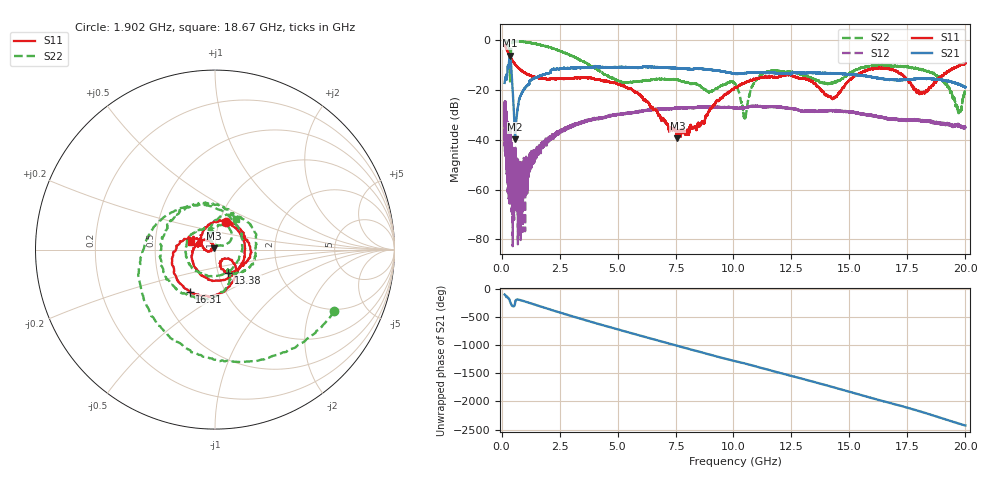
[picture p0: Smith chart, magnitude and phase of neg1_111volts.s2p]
!Created with skrf (http://scikit-rf.org).
# GHz S RI R 50.0
!freq ReS11 ImS11 ReS21 ImS21 ReS12 ImS12 ReS22 ImS22
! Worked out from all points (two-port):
!   20013 points, 130 MHz to 20 GHz, reference 50 ohm
!   highest |S21| = -6.29 dB at 370 MHz (marker M1); lowest = -39.9 dB at 581 MHz (marker M2)
!   |S21| within 3 dB of the highest: 315.8 MHz to 404.9 MHz (89.07 MHz wide, 24.7 % of centre)
!   lowest |S11| = -39.5 dB at 7.578 GHz (marker M3), VSWR 1.02, Z = 49.2 + j0.66 ohm
!   |S11| at or under -10 dB: 605 MHz to 19.76 GHz (19.16 GHz wide, 188 % of centre); 19.76561 GHz to 19.76812 GHz (2.515 MHz wide, 0.0127 % of centre); 19.77026 GHz to 19.77143 GHz (1.173 MHz wide, 0.00593 % of centre)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
!   |S22| runs from -31.5 to -0.2 dB; largest |S21 - S12| = 0.49
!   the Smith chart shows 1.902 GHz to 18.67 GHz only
!   S11 on the Smith chart (normalised r, x): 1.902 GHz: 1.07, +0.34; 13.38 GHz: 1.11, -0.30; 16.31 GHz: 0.68, -0.35; 18.67 GHz: 0.76, +0.07
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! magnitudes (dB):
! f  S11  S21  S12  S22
! 130 MHz  -2.0  -17.2  -39.5  -0.2
! 370 MHz  -6.7  -6.3  -45.2  -14.8
! 581 MHz  -9.7  -39.9  -54.1  -0.5
! 983 MHz  -13.1  -19.6  -52.0  -0.9
! 1.902 GHz  -15.6  -13.6  -41.1  -2.5
! 3.442 GHz  -15.2  -11.1  -33.1  -8.2
! 5.574 GHz  -19.5  -11.0  -29.3  -16.9
! 6.754 GHz  -29.9  -10.9  -27.8  -15.7
! 7.578 GHz  -39.5  -11.3  -27.4  -15.9
! 10.06 GHz  -19.0  -13.5  -27.2  -17.6
! 10.49 GHz  -17.2  -13.3  -27.1  -31.4
! 10.81 GHz  -16.2  -13.0  -26.6  -18.5
! 11.27 GHz  -15.0  -13.0  -26.9  -13.5
! 13.38 GHz  -16.6  -13.2  -28.6  -15.3
! 13.38 GHz  -16.5  -13.1  -28.6  -15.4
! 14.32 GHz  -23.3  -13.4  -28.3  -17.1
! 16.31 GHz  -11.2  -15.5  -30.8  -10.1
! 16.69 GHz  -11.6  -15.8  -31.8  -10.3
! 17.98 GHz  -20.8  -15.5  -32.2  -11.6
! 18.67 GHz  -16.9  -15.7  -33.1  -13.8
! 19.74 GHz  -10.2  -17.8  -34.4  -28.4
! 20 GHz  -9.4  -19.0  -34.9  -19.5
